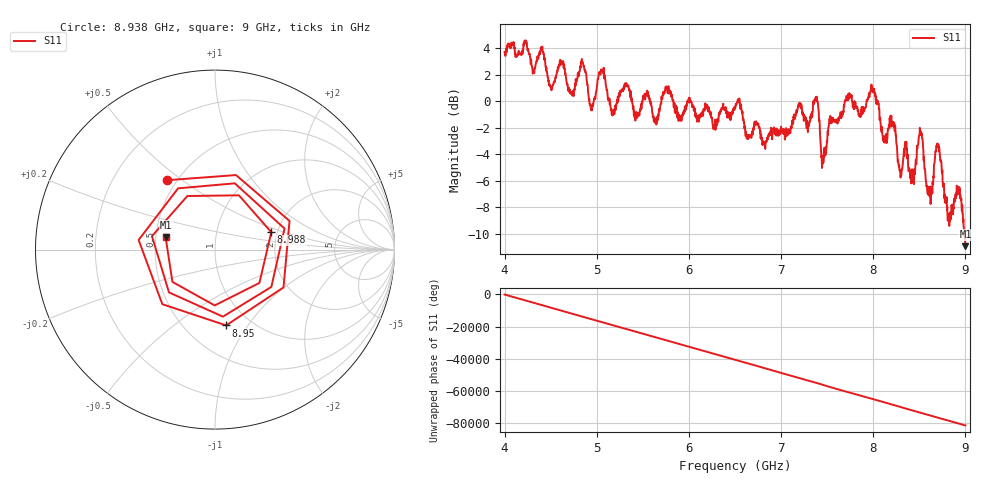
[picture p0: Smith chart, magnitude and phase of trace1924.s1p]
! Created with skrf 1.8.0 (http://scikit-rf.org).
# Hz S RI R 50.0
!freq ReS11 ImS11
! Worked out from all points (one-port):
!   1601 points, 4 GHz to 9 GHz, reference 50 ohm
!   lowest |S11| = -10.9 dB at 9 GHz (marker M1), VSWR 1.79, Z = 28.2 + j4.24 ohm
!   |S11| at or under -10 dB: 8.989887 GHz to end of sweep
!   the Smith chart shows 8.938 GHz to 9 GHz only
!   S11 on the Smith chart (normalised r, x): 8.938 GHz: 0.44, +0.44; 8.95 GHz: 0.77, -0.80; 8.988 GHz: 1.86, +0.40; 9 GHz: 0.56, +0.08
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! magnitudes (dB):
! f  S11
! 4 GHz  3.7
! 4.403 GHz  3.9
! 4.506 GHz  0.9
! 4.625 GHz  2.9
! 4.728 GHz  0.6
! 4.853 GHz  2.8
! 4.941 GHz  -0.6
! 5.05 GHz  2.4
! 5.172 GHz  -1.1
! 5.25 GHz  0.4
! 5.875 GHz  -1.2
! 6.5 GHz  -0.4
! 6.822 GHz  -3.3
! 7.125 GHz  -1.6
! 7.375 GHz  0.3
! 7.462 GHz  -4.2
! 7.75 GHz  0.5
! 7.997 GHz  0.7
! 8.109 GHz  -2.8
! 8.375 GHz  -4.0
! 8.516 GHz  -2.4
! 8.6 GHz  -6.5
! 8.697 GHz  -3.2
! 8.819 GHz  -8.9
! 8.938 GHz  -6.5
! 8.95 GHz  -7.4
! 8.988 GHz  -9.7
! 9 GHz  -10.9
